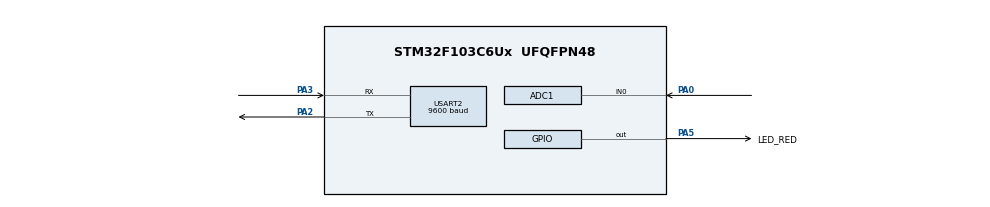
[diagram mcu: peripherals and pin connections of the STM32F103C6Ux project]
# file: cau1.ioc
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ADC1.Channel-0\#ChannelRegularConversion=ADC_CHANNEL_0
ADC1.ContinuousConvMode=ENABLE
ADC1.NbrOfConversionFlag=1
ADC1.Rank-0\#ChannelRegularConversion=1
ADC1.SamplingTime-0\#ChannelRegularConversion=ADC_SAMPLETIME_1CYCLE_5
ADC1.master=1
Mcu.Family=STM32F1
Mcu.Name=STM32F103C6Ux
Mcu.Package=UFQFPN48
NVIC.PriorityGroup=NVIC_PRIORITYGROUP_4
NVIC.USART2_IRQn=true\:0\:0\:false\:false\:true\:true\:true\:true
PA0-WKUP.Signal=ADCx_IN0
PA2.Mode=Asynchronous
PA2.Signal=USART2_TX
PA3.Mode=Asynchronous
PA3.Signal=USART2_RX
PA5.GPIO_Label=LED_RED
PA5.Signal=GPIO_Output
ProjectManager.HeapSize=0x200
ProjectManager.StackSize=0x400
ProjectManager.TargetToolchain=STM32CubeIDE
RCC.APB1Freq_Value=8000000
RCC.APB2Freq_Value=8000000
SH.ADCx_IN0.0=ADC1_IN0,IN0
USART2.BaudRate=9600
USART2.VirtualMode=VM_ASYNC
board=custom

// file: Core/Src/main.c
/* USER CODE BEGIN Header */
/**
  ******************************************************************************
  * @file           : main.c
  * @brief          : Main program body
  ******************************************************************************
  * @attention
  *
  * Copyright (c) 2022 STMicroelectronics.
  * All rights reserved.
  *
  * This software is licensed under terms that can be found in the LICENSE file
  * in the root directory of this software component.
  * If no LICENSE file comes with this software, it is provided AS-IS.
  *
  ******************************************************************************
  */
/* USER CODE END Header */
#include "main.h"

/* USER CODE BEGIN Includes */

//#include "global.h"
//#include "fsm.h"

/* USER CODE END Includes */

ADC_HandleTypeDef hadc1;

UART_HandleTypeDef huart2;

/* USER CODE BEGIN PV */

#define MAX_BUFFER_SIZE  30
uint8_t temp = 0;
uint8_t buffer[MAX_BUFFER_SIZE];
uint8_t index_buffer = 0;
uint8_t buffer_flag = 0;

void HAL_UART_RxCpltCallback(UART_HandleTypeDef *huart)
{
	if(huart->Instance == USART2)
	{
		//HAL_UART_Transmit(&huart2, &temp, 1, 50);
		buffer[index_buffer++] = temp;
		if(index_buffer == 30) index_buffer = 0;

		buffer_flag = 1;
		HAL_UART_Receive_IT(&huart2, &temp, 1);
	}
}

uint8_t str[50];
int ADC_value = 0;

int state = 0;	// state command_parser_fsm()
int command_flag = 0;
int command_data = 0;

int state_2 = 0;	// state uart_communiation_fsm()

int count = 0;	// count 3s

void command_parser_fsm()
{
	switch(state)
	{
	case 0:					///////// RST
		command_data = 0;
		command_flag = 0;

		if(temp == '!')
			state = 1;
		break;
	case 1:
		if(temp == 'R')
			state = 2;
		break;
	case 2:
		if(temp == 'S')
			state = 3;
		break;
	case 3:
		if(temp == 'T')
			state = 4;
		break;
	case 4:
		if(temp == '#')
		{
			command_flag = 1;
			state = 5;
		}
		break;

	case 5:				///// OKKKK
		if(temp == '!')
			state = 6;
		break;
	case 6:
		if(temp == 'O')
			state = 7;
		break;
	case 7:
		if(temp == 'K')
			state = 8;
		break;
	case 8:
		if(temp == '#')
		{
			state = 0;		// end
			command_flag = 0;
			command_data = 1;
		}
		break;
	default:
		break;
	}
}

void uart_communiation_fsm()
{
	switch (state_2)
	{
	case 0:
		count = 0;

		if(command_flag == 1)	// !RST#
			state_2 = 1;
		break;
	case 1:
		count++;
		ADC_value =  HAL_ADC_GetValue(&hadc1);
		HAL_UART_Transmit(&huart2, str, sprintf(str, "!ADC:%ld#", ADC_value), 1000);

		if(count == 3)	//  waiting !OK# 3 seconds
		{
			state = 0;
			state_2 = 0;
		}

		if(command_data == 1)	// OK
		{
			state_2 = 0;
		}
		break;
	default:
		break;
	}
}

/* USER CODE END PV */

void SystemClock_Config(void);
static void MX_GPIO_Init(void);
static void MX_ADC1_Init(void);
static void MX_USART2_UART_Init(void);

int main(void)
{

  /* MCU Configuration--------------------------------------------------------*/

  /* Reset of all peripherals, Initializes the Flash interface and the Systick. */
  HAL_Init();

  /* Configure the system clock */
  SystemClock_Config();

  /* Initialize all configured peripherals */
  MX_GPIO_Init();
  MX_ADC1_Init();
  MX_USART2_UART_Init();
  /* USER CODE BEGIN 2 */

  HAL_ADC_Start(&hadc1);
  HAL_UART_Receive_IT(&huart2, &temp, 1);

  /* USER CODE END 2 */

  /* Infinite loop */
  /* USER CODE BEGIN WHILE */

  while (1)
  {
	  HAL_GPIO_TogglePin(LED_RED_GPIO_Port, LED_RED_Pin);

	  if(buffer_flag == 1)
	  {
		  command_parser_fsm();
	      buffer_flag = 0;
	  }
	  uart_communiation_fsm();

	  HAL_Delay(1000);
    /* USER CODE END WHILE */

  }
}

void SystemClock_Config(void)
{
  RCC_OscInitTypeDef RCC_OscInitStruct = {0};
  RCC_ClkInitTypeDef RCC_ClkInitStruct = {0};
  RCC_PeriphCLKInitTypeDef PeriphClkInit = {0};

  /** Initializes the RCC Oscillators according to the specified parameters
  * in the RCC_OscInitTypeDef structure.
  */
  RCC_OscInitStruct.OscillatorType = RCC_OSCILLATORTYPE_HSI;
  RCC_OscInitStruct.HSIState = RCC_HSI_ON;
  RCC_OscInitStruct.HSICalibrationValue = RCC_HSICALIBRATION_DEFAULT;
  RCC_OscInitStruct.PLL.PLLState = RCC_PLL_NONE;
  if (HAL_RCC_OscConfig(&RCC_OscInitStruct) != HAL_OK)
  {
    Error_Handler();
  }

  /** Initializes the CPU, AHB and APB buses clocks
  */
  RCC_ClkInitStruct.ClockType = RCC_CLOCKTYPE_HCLK|RCC_CLOCKTYPE_SYSCLK
                              |RCC_CLOCKTYPE_PCLK1|RCC_CLOCKTYPE_PCLK2;
  RCC_ClkInitStruct.SYSCLKSource = RCC_SYSCLKSOURCE_HSI;
  RCC_ClkInitStruct.AHBCLKDivider = RCC_SYSCLK_DIV1;
  RCC_ClkInitStruct.APB1CLKDivider = RCC_HCLK_DIV1;
  RCC_ClkInitStruct.APB2CLKDivider = RCC_HCLK_DIV1;

  if (HAL_RCC_ClockConfig(&RCC_ClkInitStruct, FLASH_LATENCY_0) != HAL_OK)
  {
    Error_Handler();
  }
  PeriphClkInit.PeriphClockSelection = RCC_PERIPHCLK_ADC;
  PeriphClkInit.AdcClockSelection = RCC_ADCPCLK2_DIV2;
  if (HAL_RCCEx_PeriphCLKConfig(&PeriphClkInit) != HAL_OK)
  {
    Error_Handler();
  }
}

static void MX_ADC1_Init(void)
{

  ADC_ChannelConfTypeDef sConfig = {0};

  /** Common config
  */
  hadc1.Instance = ADC1;
  hadc1.Init.ScanConvMode = ADC_SCAN_DISABLE;
  hadc1.Init.ContinuousConvMode = ENABLE;
  hadc1.Init.DiscontinuousConvMode = DISABLE;
  hadc1.Init.ExternalTrigConv = ADC_SOFTWARE_START;
  hadc1.Init.DataAlign = ADC_DATAALIGN_RIGHT;
  hadc1.Init.NbrOfConversion = 1;
  if (HAL_ADC_Init(&hadc1) != HAL_OK)
  {
    Error_Handler();
  }

  /** Configure Regular Channel
  */
  sConfig.Channel = ADC_CHANNEL_0;
  sConfig.Rank = ADC_REGULAR_RANK_1;
  sConfig.SamplingTime = ADC_SAMPLETIME_1CYCLE_5;
  if (HAL_ADC_ConfigChannel(&hadc1, &sConfig) != HAL_OK)
  {
    Error_Handler();
  }

}

static void MX_USART2_UART_Init(void)
{

  huart2.Instance = USART2;
  huart2.Init.BaudRate = 9600;
  huart2.Init.WordLength = UART_WORDLENGTH_8B;
  huart2.Init.StopBits = UART_STOPBITS_1;
  huart2.Init.Parity = UART_PARITY_NONE;
  huart2.Init.Mode = UART_MODE_TX_RX;
  huart2.Init.HwFlowCtl = UART_HWCONTROL_NONE;
  huart2.Init.OverSampling = UART_OVERSAMPLING_16;
  if (HAL_UART_Init(&huart2) != HAL_OK)
  {
    Error_Handler();
  }

}

static void MX_GPIO_Init(void)
{
  GPIO_InitTypeDef GPIO_InitStruct = {0};

  /* GPIO Ports Clock Enable */
  __HAL_RCC_GPIOA_CLK_ENABLE();

  /*Configure GPIO pin Output Level */
  HAL_GPIO_WritePin(LED_RED_GPIO_Port, LED_RED_Pin, GPIO_PIN_RESET);

  /*Configure GPIO pin : LED_RED_Pin */
  GPIO_InitStruct.Pin = LED_RED_Pin;
  GPIO_InitStruct.Mode = GPIO_MODE_OUTPUT_PP;
  GPIO_InitStruct.Pull = GPIO_NOPULL;
  GPIO_InitStruct.Speed = GPIO_SPEED_FREQ_LOW;
  HAL_GPIO_Init(LED_RED_GPIO_Port, &GPIO_InitStruct);

}

void Error_Handler(void)
{
  __disable_irq();
  while (1)
  {
  }
}
